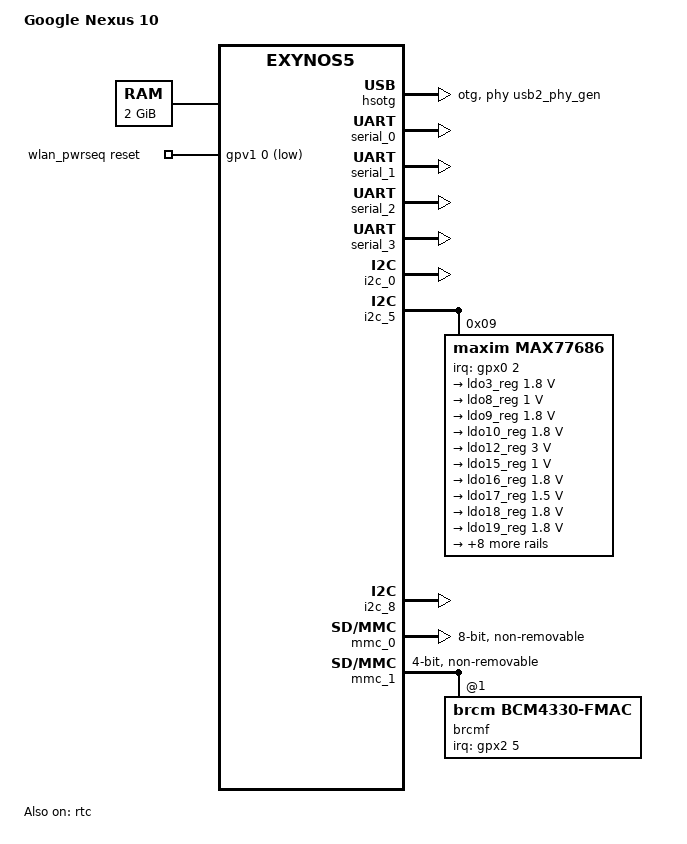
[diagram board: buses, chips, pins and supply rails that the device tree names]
/dts-v1/;
#include <dt-bindings/gpio/gpio.h>
#include <dt-bindings/pinctrl/samsung.h>
#include <dt-bindings/clock/maxim,max77686.h>
#include <dt-bindings/power/summit,smb347-charger.h>
#include "exynos5250.dtsi"

/ {
	model = "Google Nexus 10";
	compatible = "samsung,manta", "samsung,exynos5250", "samsung,exynos5";

	memory@40000000 {
		device_type = "memory";
		reg = <0x40000000 0x7FEFFFFF>;
	};

	chosen {
		bootargs = "vmalloc=512M PMOS_NO_OUTPUT_REDIRECT";
		stdout-path = &serial_2;
	};

	fixed-rate-clocks {
		xxti {
			compatible = "samsung,clock-xxti";
			clock-frequency = <24000000>;
		};

		xusbxti {
			compatible = "samsung,clock-xusbxti";
			clock-frequency = <24000000>;
		};
	};

	firmware@203f000 {
		compatible = "samsung,secure-firmware";
		reg = <0x02410000 0x1000>;
	};

	wlan_pwrseq: mmc1-pwrseq {
		compatible = "mmc-pwrseq-simple";
		reset-gpios = <&gpv1 0 GPIO_ACTIVE_LOW>;
		pinctrl-0 = <&wlan_pmena>;
		pinctrl-names = "default";
		clocks = <&max77686 MAX77686_CLK_PMIC>;
		clock-names = "ext_clock";
		post-power-on-delay-ms = <300>; //300ms on probe, else 500ms
		power-off-delay-us = <50>;
	};

	hsotg: hsotg@12140000 {
		compatible = "samsung,s3c6400-hsotg";
		reg = <0x12140000 0x20000>;
		interrupts = <GIC_SPI 74 IRQ_TYPE_LEVEL_HIGH>;

		clocks = <&clock CLK_USBOTG>;
		clock-names = "otg";
		phys = <&usb2_phy_gen 0>;
		phy-names = "usb2-phy";

		vusb_a-supply = <&ldo12_reg>;

		dr_mode = "otg";
		role-switch-default-mode = "peripheral";

		status = "okay";
	};

};

// Serial
&serial_0 {
	pinctrl-names = "default", "flow-control";
	pinctrl-0 = <&uart0_data>;
	pinctrl-1 = <&uart0_data>, <&uart0_fctl>;
	status = "okay";
};

&serial_1 {
	pinctrl-names = "default", "flow-control";
	pinctrl-0 = <&uart1_data>;
	pinctrl-1 = <&uart1_data>, <&uart1_fctl>;
	status = "okay";
};

&serial_2 {
	pinctrl-names = "default", "flow-control";
	pinctrl-0 = <&uart2_data>;
	pinctrl-1 = <&uart2_data>, <&uart2_fctl>;
	status = "okay";
};

&serial_3 {
	pinctrl-names = "default";
	pinctrl-0 = <&uart3_data>;
	status = "okay";
};

// I2C
&i2c_0{
	status = "okay";
	/* used by HDMI DDC */
	samsung,i2c-sda-delay = <100>;
	samsung,i2c-max-bus-freq = <65000>;
	//exynos_hdcp
	//exynos_edid
};

//&i2c_1{
//	//as3668 LED driver (no driver nor DT in kernel)
//	};
//
//&i2c_2{
//	//stmpe811-adc Touch screen sensor (lunchbox rev only ?)
//	//ds2482 Single channel 1-wire master (battery)
//	//smb347
//};
//
//&i2c_3{
//	//atmel Atmel maXTouch Touchscreen
//};
//
//&i2c_4{
//	//audience es305 Voice processor
//};

&i2c_5 {
	status = "okay";
	samsung,i2c-sda-delay = <100>;

	max77686: pmic@9 {
		compatible = "maxim,max77686";
		reg = <0x09>;
		interrupt-parent = <&gpx0>;
		interrupts = <2 IRQ_TYPE_LEVEL_LOW>;
		pinctrl-names = "default";
		pinctrl-0 = <&max77686_irq>;
		#clock-cells = <1>;
		wakeup-source;

		voltage-regulators {
			ldo3_reg: LDO3 {
				regulator-name = "VCC_1.8V_AP";
				regulator-min-microvolt = <1800000>;
				regulator-max-microvolt = <1800000>;
				regulator-always-on;
				regulator-boot-on;
			};
			ldo8_reg: LDO8 {
				regulator-name = "VMIPI_1.0V";
				regulator-min-microvolt = <1000000>;
				regulator-max-microvolt = <1000000>;
				regulator-always-on;
				regulator-boot-on;
			};
			ldo9_reg: LDO9 {
				regulator-name = "TOUCH_VDD_1.8V";
				regulator-min-microvolt = <1800000>;
				regulator-max-microvolt = <1800000>;
			};
			ldo10_reg: LDO10 {
				regulator-name = "VMIPI_1.8V";
				regulator-min-microvolt = <1800000>;
				regulator-max-microvolt = <1800000>;
				regulator-always-on;
				regulator-boot-on;
			};
			ldo12_reg: LDO12 {
				regulator-name = "VUOTG_3.0V";
				regulator-min-microvolt = <3000000>;
				regulator-max-microvolt = <3000000>;
				regulator-always-on;
				regulator-boot-on;
			};
			ldo15_reg: LDO15 {
				regulator-name = "VHSIC_1.0V";
				regulator-min-microvolt = <1000000>;
				regulator-max-microvolt = <1000000>;
				regulator-always-on;
				regulator-boot-on;
			};
			ldo16_reg: LDO16 {
				regulator-name = "VHSIC_1.8V";
				regulator-min-microvolt = <1800000>;
				regulator-max-microvolt = <1800000>;
				regulator-always-on;
				regulator-boot-on;
			};
			ldo17_reg: LDO17 {
				regulator-name = "5M_CORE_1.5V";
				regulator-min-microvolt = <1500000>;
				regulator-max-microvolt = <1500000>;
			};
			ldo18_reg: LDO18 {
				regulator-name = "CAM_IO_1.8V";
				regulator-min-microvolt = <1800000>;
				regulator-max-microvolt = <1800000>;
			};
			ldo19_reg: LDO19 {
				regulator-name = "VT_CAM_1.8V";
				regulator-min-microvolt = <1800000>;
				regulator-max-microvolt = <1800000>;
			};
			ldo20_reg: LDO20 {
				regulator-name = "TA_CHECK_1.35V";
				regulator-min-microvolt = <1350000>;
				regulator-max-microvolt = <1350000>;
			};
			ldo23_reg: LDO23 {
				regulator-name = "TSP_AVDD_2.8V";
				regulator-min-microvolt = <2800000>;
				regulator-max-microvolt = <2800000>;
			};
			ldo24_reg: LDO24 {
				regulator-name = "CAM_AF_2.8V";
				regulator-min-microvolt = <2800000>;
				regulator-max-microvolt = <2800000>;
			};
			ldo25_reg: LDO25 {
				regulator-name = "VADC_3.3V";
				regulator-min-microvolt = <3300000>;
				regulator-max-microvolt = <3300000>;
				regulator-always-on;
				regulator-boot-on;
			};
			buck1_reg: BUCK1 {
				regulator-name = "vdd_mif";
				regulator-min-microvolt = <850000>;
				regulator-max-microvolt = <1200000>;
				regulator-always-on;
				regulator-boot-on;
			};
			buck2_reg: BUCK2 {
				regulator-name = "vdd_arm";
				regulator-min-microvolt = <850000>;
				regulator-max-microvolt = <1200000>;
				regulator-always-on;
				regulator-boot-on;
			};
			buck3_reg: BUCK3 {
				regulator-name = "vdd_int";
				regulator-min-microvolt = <850000>;
				regulator-max-microvolt = <1200000>;
				regulator-always-on;
				regulator-boot-on;
			};
			buck4_reg: BUCK4 {
				regulator-name = "vdd_g3d";
				regulator-min-microvolt = <850000>;
				regulator-max-microvolt = <1200000>;
				regulator-boot-on;
			};
		};
	};
};

&i2c_8 {
	status = "okay";
	/* used by HDMI PHY */
	samsung,i2c-sda-delay = <100>;
	samsung,i2c-max-bus-freq = <65000>;
};

&mmc_0{
	status = "okay";
	broken-cd;
	non-removable;
	max-frequency = <200000000>;
	sd-uhs-ddr50;
	mmc-ddr-1_8v;
	cap-mmc-hw-reset;
	mmc-hs200-1_8v;
	bus-width = <8>;
	card-detect-delay = <200>;
	samsung,dw-mshc-ciu-div = <3>;
	samsung,dw-mshc-sdr-timing = <1 2>;
	samsung,dw-mshc-ddr-timing = <2 3>;
	pinctrl-names = "default";
	pinctrl-0 = <&sd0_clk &sd0_cmd &sd0_bus4 &sd0_bus8>;
};

&mmc_1{
	status = "okay";
	non-removable;
	max-frequency = <200000000>;
	sd-uhs-sdr104;
	cap-sd-highspeed;
	keep-power-in-suspend;
	bus-width = <4>;
	card-detect-delay = <0>;
	samsung,dw-mshc-ciu-div = <3>;
	samsung,dw-mshc-sdr-timing = <2 4>;
	samsung,dw-mshc-ddr-timing = <2 3>;
	pinctrl-names = "default";
	pinctrl-0 = <&sd1_clk &sd1_cmd &sd1_bus4>;
	mmc-pwrseq = <&wlan_pwrseq>;

	brcmf: wifi@1 {
		compatible = "brcm,bcm4330-fmac", "brcm,bcm4329-fmac";
		reg = <1>;
		interrupt-parent = <&gpx2>;
		interrupts = <5 IRQ_TYPE_NONE>;
		interrupt-names = "host-wake";
	};
};

&pinctrl_0 {
	max77686_irq: max77686-irq {
		samsung,pins = "gpx0-2";
		samsung,pin-function = <EXYNOS_PIN_FUNC_F>;
		samsung,pin-pud = <EXYNOS_PIN_PULL_NONE>;
		samsung,pin-drv = <EXYNOS4_PIN_DRV_LV1>;
	};
	smb347_irq: smb347-irq {
		samsung,pins = "gpx0-0";
		samsung,pin-function = <EXYNOS_PIN_FUNC_INPUT>;
		samsung,pin-pud = <EXYNOS_PIN_PULL_NONE>;
	};
	pwm_in_18v: pwm-in-18v {
		samsung,pins = "gpb2-0";
		samsung,pin-function = <EXYNOS_PIN_FUNC_OUTPUT>;
		samsung,pin-pud = <EXYNOS_PIN_PULL_NONE>;
		samsung,pin-drv = <EXYNOS4_PIN_DRV_LV1>;
		samsung,pin-con-pdn = <EXYNOS_PIN_PDN_INPUT>;
		samsung,pin-pud-pdn = <EXYNOS_PIN_PULL_UP>;
		samsung,pin-val = <0>;
	};
	power_irq: power-irq-pins {
		samsung,pins = "gpx2-7";
		samsung,pin-function = <EXYNOS_PIN_FUNC_F>;
		samsung,pin-pud = <EXYNOS_PIN_PULL_NONE>;
		samsung,pin-drv = <EXYNOS4_PIN_DRV_LV1>;
	};
	usb_id: usb_id {
		samsung,pins = "gpx1-1";
		samsung,pin-con-pdn = <EXYNOS_PIN_PDN_INPUT>;
		samsung,pin-pud-pdn = <EXYNOS_PIN_PULL_NONE>;
	};
	wlan_irq: wlan-irq {
		samsung,pins = "gpx2-5";
		samsung,pin-function = <EXYNOS_PIN_FUNC_INPUT>;
		samsung,pin-pud = <EXYNOS_PIN_PULL_NONE>;
		samsung,pin-drv = <EXYNOS4_PIN_DRV_LV3>;
	};
};
&sd1_cmd {
	samsung,pin-con-pdn = <EXYNOS_PIN_PDN_INPUT>;
	samsung,pin-pud-pdn = <EXYNOS_PIN_PULL_NONE>;
};
&sd1_bus4 {
	samsung,pin-con-pdn = <EXYNOS_PIN_PDN_INPUT>;
	samsung,pin-pud-pdn = <EXYNOS_PIN_PULL_NONE>;
};

&pinctrl_2 {
	wlan_pmena: wlan-pmena {
		samsung,pins = "gpv1-0";
		samsung,pin-function = <EXYNOS_PIN_FUNC_OUTPUT>;
		samsung,pin-pud = <EXYNOS_PIN_PULL_NONE>;
		samsung,pin-drv = <EXYNOS4_PIN_DRV_LV3>;
		samsung,pin-con-pdn = <EXYNOS_PIN_PDN_PREV>;
		samsung,pin-val = <0>;
	};
};

&cpu0 {
	cpu0-supply = <&buck2_reg>;
	clock-frequency = <1700000000>;
};

&cpu1 {
	clock-frequency = <1700000000>;
};

&rtc {
	status = "okay";
	clocks = <&clock CLK_RTC>, <&max77686 MAX77686_CLK_AP>;
	clock-names = "rtc", "rtc_src";
};
